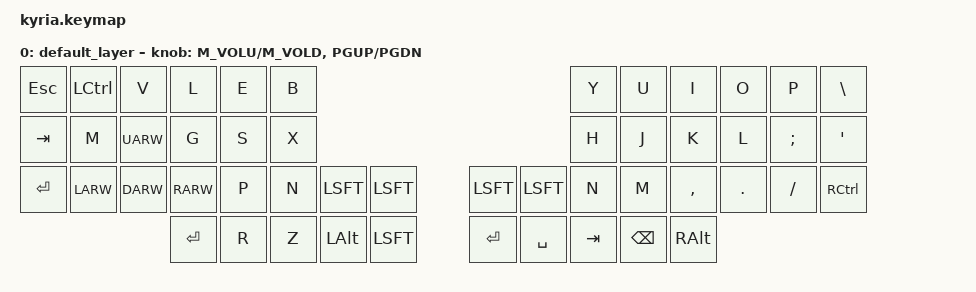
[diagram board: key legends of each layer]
#include <behaviors.dtsi>
#include <dt-bindings/zmk/keys.h>

#define DEFAULT 0
#define PS 1

/ {
    keymap {
        compatible = "zmk,keymap";

        default_layer {
// ---------------------------------------------------------------------------------------------------------------------------------
// |  ESC  |  L CTRL  |  V  |  L   |  E   |  B   |                                          |  Y   |  U    |  I    |  O   |   P   |   \  |
// |  TAB  |  M  |  UARW  |  G   |  S   |  X   |                                          |  H   |  J    |  K    |  L   |   ;   |   '  |
// |  RET  |  LARW  |  DARW  |  RARW   |  P   |  N   | L SHIFT | L SHIFT |  | L SHIFT | L SHIFT |  N   |  M    |  ,    |  .   |   /   | CTRL |
//                     | RET  | R  | Z  |  L ALT  |   L SHIFT   |  |   RET   |  SPACE  | TAB  | BSPC  | R-ALT |
            bindings = <
    &kp ESC  &kp LCTL &kp V &kp L &kp E &kp B                                            &kp Y &kp U  &kp I    &kp O   &kp P    &kp BSLH
    &kp TAB  &kp M &kp UARW &kp G &kp S &kp X                                            &kp H &kp J  &kp K    &kp L   &kp SCLN &kp QUOT
    &kp RET &kp LARW &kp DARW &kp RARW &kp P &kp N &kp LSFT &kp LSFT        &kp LSFT &kp LSFT &kp N &kp M  &kp CMMA &kp DOT &kp FSLH &kp RCTL
                  &kp RET &kp R &kp Z &kp LALT &kp LSFT            &kp RET  &kp SPC  &kp TAB &kp BKSP &kp RALT
            >;

            sensor-bindings = <&inc_dec_cp M_VOLU M_VOLD &inc_dec_kp PGUP PGDN>;
        };
    };
};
